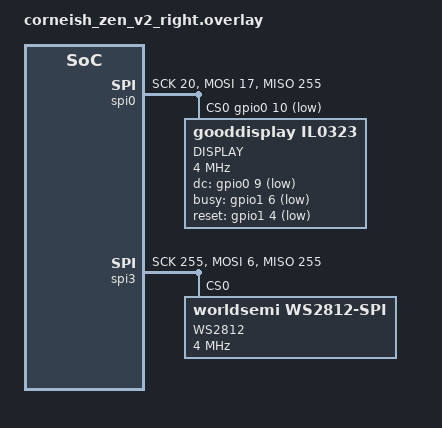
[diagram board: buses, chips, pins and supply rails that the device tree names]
/*
 * Copyright (c) 2021 Darryl deHaan
 * SPDX-License-Identifier: MIT
 */

#include "corneish_zen.dtsi"
#include <dt-bindings/led/led.h>

&default_transform {
    col-offset = <6>;
};

&five_column_transform {
    col-offset = <5>;
};

&kscan0 {
    col-gpios
        = <&gpio0 23 GPIO_ACTIVE_HIGH>
        , <&gpio0 26 GPIO_ACTIVE_HIGH>
        , <&gpio0 6  GPIO_ACTIVE_HIGH>
        , <&gpio0 8  GPIO_ACTIVE_HIGH>
        , <&gpio1 9  GPIO_ACTIVE_HIGH>
        , <&gpio0 12 GPIO_ACTIVE_HIGH>
        ;
};

&spi0 {
    status = "okay";
    compatible = "nordic,nrf-spim";
    sck-pin = <20>;
    mosi-pin = <17>;
    miso-pin = <255>;
    cs-gpios = <&gpio0 10 GPIO_ACTIVE_LOW>;

    epd: il0323@0 {
        compatible = "gooddisplay,il0323";
        label = "DISPLAY";
        reg = <0>;
        spi-max-frequency = <4000000>;
        dc-gpios = <&gpio0 9 GPIO_ACTIVE_LOW>;
        busy-gpios = <&gpio1 6 GPIO_ACTIVE_LOW>;
        reset-gpios = <&gpio1 4 GPIO_ACTIVE_LOW>;
        pwr = [ 03 00 26 26 ];
        cdi = <0xd2>;
        tcon = <0x22>;
    };
};

&spi3 {
    status = "okay";
    compatible = "nordic,nrf-spim";
    sck-pin = <255>;
    mosi-pin = <6>;
    miso-pin = <255>;

    led_strip: ws2812@0 {
        compatible = "worldsemi,ws2812-spi";
        label = "WS2812";
        reg = <0>;
        spi-max-frequency = <4000000>;
        chain-length = <12>;
        spi-one-frame = <0x70>;
        spi-zero-frame = <0x40>;
        color-mapping = <LED_COLOR_ID_GREEN LED_COLOR_ID_RED LED_COLOR_ID_BLUE>;
    };
};
